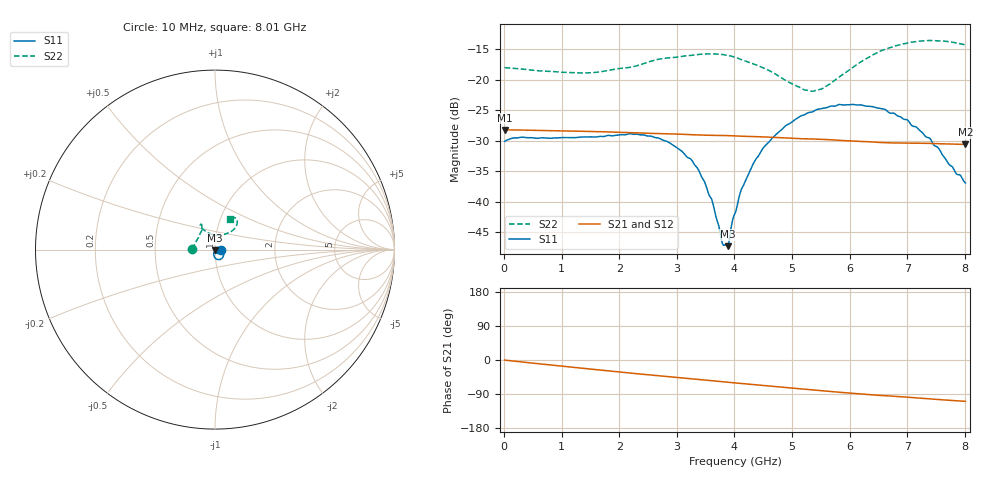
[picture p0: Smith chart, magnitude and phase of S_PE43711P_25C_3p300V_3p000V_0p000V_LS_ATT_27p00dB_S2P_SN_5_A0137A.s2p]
! Device ID: PE43711P
! File Path: z:\PE43711P\CHAR_NOM_04282014\AMB\3p300\LS_ATT_27p00dB\PE43711P_AMB_3p300V_3p000V_0p000V_LS_ATT_27p00dB_S2P_SN_5_A0137A.s2p
! Serial: 5
! Lot: A0137A
! Temp: 25C
! VDD: 3.300
! VSS: 0.000
! Control_Hi: 3.000
! Control_Lo: 0.000
! Attenuation Step: 27.00dB
! Port 1: RF1
! Port 2: RF2
! ThroughPath:1-2
! IDD: 0.0001278814
! ISS: -1.52e-007
#  Hz  S  RI  R  50
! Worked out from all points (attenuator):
!   801 points, 10 MHz to 8.01 GHz, reference 50 ohm
!   highest |S21| = -28.24 dB at 20 MHz (marker M1); lowest = -30.6 dB at 8.01 GHz (marker M2)
!   lowest |S11| = -47.3 dB at 3.88 GHz (marker M3), VSWR 1.01, Z = 50.2 - j0.397 ohm
!   |S11| at or under -10 dB: start of sweep to end of sweep
!   |S22| runs from -21.9 to -13.6 dB; largest |S21 - S12| = 0.00015
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1e7  0.0311 0.00045  0.0387 -0.000147  0.0388 -0.000171  -0.1258 0.000946
2e7  0.0314 0.000549  0.0387 -0.000225  0.0387 -0.000234  -0.1256 0.00154
1.35e9  0.0338 -0.00118  0.0351 -0.0139  0.0351 -0.0139  -0.0986 0.0557
2.19e9  0.036 0.00114  0.0303 -0.0208  0.0304 -0.0208  -0.0766 0.1004
2.68e9  0.0329 0.0044  0.0271 -0.0239  0.0271 -0.024  -0.0731 0.1275
3.06e9  0.0257 0.00572  0.0243 -0.0262  0.0243 -0.0262  -0.0736 0.1362
3.35e9  0.0185 0.00469  0.0221 -0.0274  0.0221 -0.0274  -0.0757 0.141
3.61e9  0.0102 0.00122  0.0202 -0.0285  0.0202 -0.0285  -0.0798 0.1413
3.79e9  0.00405 -0.00207  0.0189 -0.0293  0.0189 -0.0293  -0.0822 0.1383
3.88e9  0.00171 -0.00395  0.0181 -0.0296  0.0181 -0.0297  -0.0822 0.1351
4.01e9  -0.0014 -0.00787  0.017 -0.0301  0.017 -0.0301  -0.0813 0.1291
4.15e9  -0.00399 -0.0128  0.0158 -0.0305  0.0158 -0.0305  -0.0767 0.1223
4.34e9  -0.00705 -0.0197  0.0143 -0.0309  0.0144 -0.0309  -0.0689 0.1149
4.51e9  -0.00746 -0.0269  0.013 -0.0313  0.0129 -0.0313  -0.0607 0.1086
4.9e9  -0.0029 -0.0421  0.00977 -0.0317  0.00974 -0.0318  -0.0347 0.0914
5.35e9  0.0102 -0.0533  0.00633 -0.032  0.00637 -0.032  0.00763 0.0798
5.56e9  0.0188 -0.0554  0.0047 -0.032  0.00471 -0.032  0.0313 0.0803
6.05e9  0.0378 -0.0499  0.00116 -0.0313  0.0011 -0.0314  0.0816 0.0955
6.68e9  0.0473 -0.0256  -0.00251 -0.0303  -0.00251 -0.0303  0.1202 0.1365
7e9  0.0446 -0.0141  -0.00422 -0.0299  -0.00425 -0.0299  0.1243 0.1561
7.39e9  0.033 -0.00283  -0.00658 -0.0293  -0.00657 -0.0293  0.1145 0.1755
8.01e9  0.0141 -0.0014  -0.00959 -0.0278  -0.00975 -0.0278  0.085 0.1726
